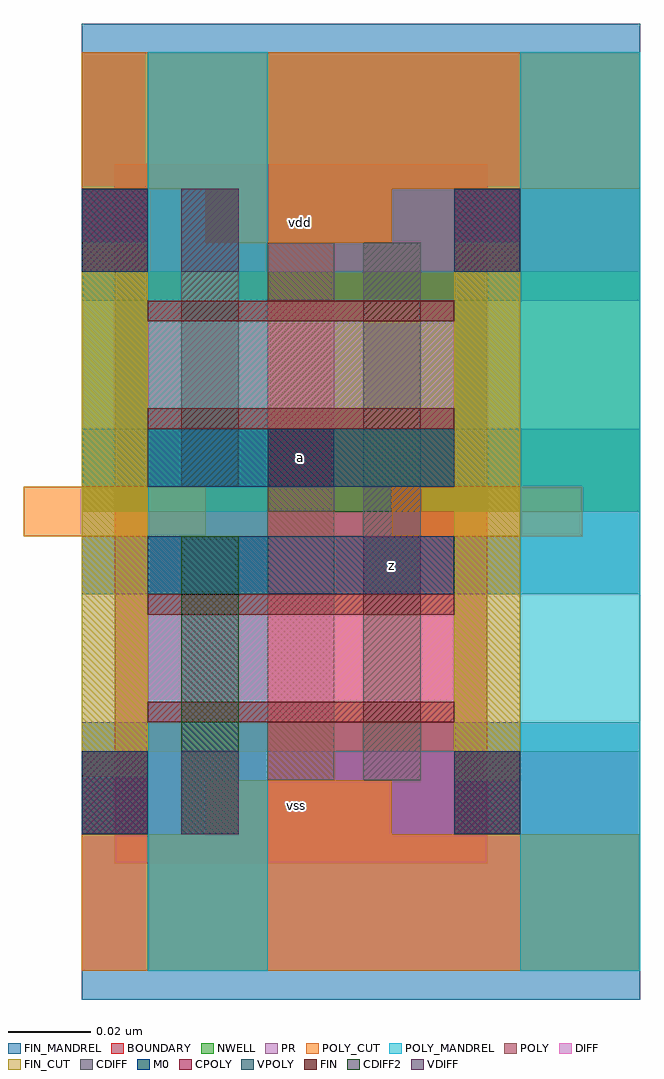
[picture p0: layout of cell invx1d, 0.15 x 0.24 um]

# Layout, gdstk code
import gdstk
lib = gdstk.Library(unit=1e-6, precision=1e-09)
def R(c, l, rs):  # rectangles x0, y0, x1, y1
    for r in rs: c.add(gdstk.rectangle(r[:2], r[2:], *l))
BOUNDARY = (1, 0)
NWELL = (5, 1)
DIFF = (7, 7)
FIN = (7, 8)
FIN_MANDREL = (7, 10)
FIN_CUT = (7, 50)
POLY = (9, 7)
POLY_MANDREL = (9, 10)
POLY_CUT = (9, 50)
CPOLY = (9, 100)
VPOLY = (9, 135)
VDIFF = (10, 0)
CDIFF = (10, 1)
CDIFF2 = (10, 2)
M0 = (30, 0)
PR = (30, 1)

invx1d = lib.new_cell('invx1d')
R(invx1d, BOUNDARY, [(-0.008,0,0.082,0.169)])
R(invx1d, NWELL, [(-0.016,0.085,0.119,0.196)])
R(invx1d, DIFF, [(0,0.034,0.074,0.065), (0,0.105,0.074,0.136)])
R(invx1d, FIN, [(0,0.034,0.074,0.039), (0,0.06,0.074,0.065), (0,0.105,0.074,0.11), (0,0.131,0.074,0.136)])
R(invx1d, FIN_MANDREL, [(-0.016,-0.033,0.119,0.034), (-0.016,0.065,0.119,0.105), (-0.016,0.136,0.119,0.203)])
R(invx1d, FIN_CUT, [(0.074,0.02,0.09,0.15), (-0.016,0.021,0,0.15)])
R(invx1d, POLY, [(-0.016,0.007,0,0.079), (0.074,0.007,0.09,0.079), (0.029,0.02,0.045,0.15), (-0.016,0.091,0,0.163), (0.074,0.091,0.09,0.163)])
R(invx1d, POLY_MANDREL, [(0,-0.026,0.029,0.196), (0.09,-0.026,0.119,0.196)])
R(invx1d, POLY_CUT, [(-0.016,-0.026,0.119,0.007), (0.014,-0.026,0.059,0.02), (-0.03,0.079,0.014,0.091), (0.059,0.079,0.105,0.091), (0.014,0.15,0.059,0.196), (-0.016,0.163,0.119,0.196)])
R(invx1d, CPOLY, [(-0.016,0.007,0,0.027), (0.074,0.007,0.09,0.027), (0.029,0.091,0.045,0.105), (-0.016,0.143,0,0.163), (0.074,0.143,0.09,0.163)])
R(invx1d, VPOLY, [(-0.016,0.007,0,0.027), (0.074,0.007,0.09,0.027), (0.029,0.091,0.045,0.105), (-0.016,0.143,0,0.163), (0.074,0.143,0.09,0.163)])
R(invx1d, VDIFF, [(0.008,0.007,0.022,0.027), (0.052,0.065,0.066,0.079), (0.008,0.143,0.022,0.163)])
R(invx1d, CDIFF, [(0.052,0.02,0.066,0.15), (0.008,0.091,0.022,0.163)])
R(invx1d, CDIFF2, [(0.008,0.007,0.022,0.079)])
R(invx1d, M0, [(0,0.065,0.074,0.079), (0,0.091,0.074,0.105)])
R(invx1d, PR, [(-0.016,-0.026,0.119,0.027), (-0.016,0.143,0.119,0.196)])
invx1d.add(gdstk.Label('vss', (0.036,0.014), layer=30, texttype=2))
invx1d.add(gdstk.Label('vdd', (0.037,0.155), layer=30, texttype=2))
invx1d.add(gdstk.Label('a', (0.037,0.098), layer=30, texttype=12))
invx1d.add(gdstk.Label('z', (0.059,0.072), layer=30, texttype=12))
invx1d.add(gdstk.Label('vss', (0.036,0.014), layer=30, texttype=12))
invx1d.add(gdstk.Label('vdd', (0.037,0.155), layer=30, texttype=12))

lib.write_gds('invx1d.gds')
